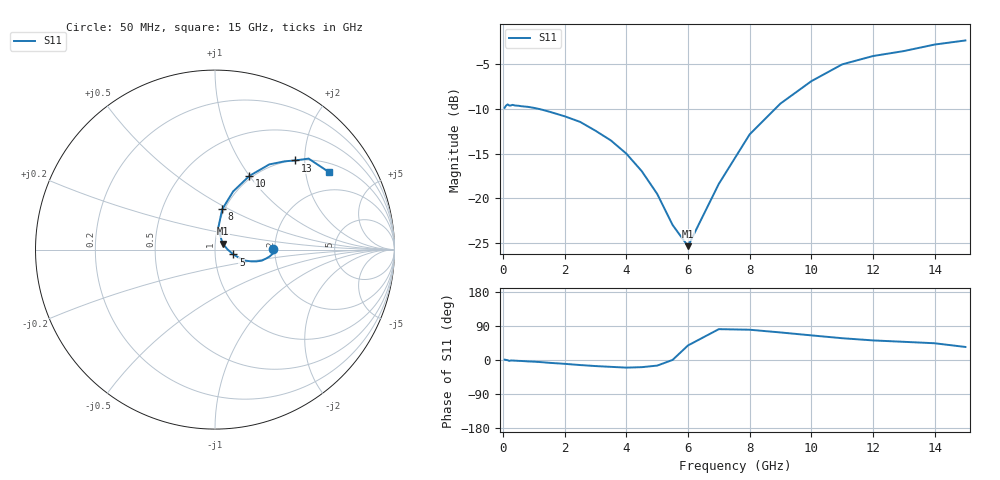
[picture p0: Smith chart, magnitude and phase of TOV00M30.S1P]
! SIEMENS Small Signal Semiconductors
! BAT15-03W
! Si Schottky Diode in SOD323
! IF = 0.3 mA
! S-Parameters:  May  1996
# GHz  S  MA  R  50
!  f  S11
! GHz  MAG  ANG
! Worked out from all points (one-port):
!   31 points, 50 MHz to 15 GHz, reference 50 ohm
!   lowest |S11| = -25.4 dB at 6 GHz (marker M1), VSWR 1.11, Z = 54.3 + j3.63 ohm
!   |S11| at or under -10 dB: 1.171 GHz to 8.824 GHz (7.653 GHz wide, 153 % of centre)
!   S11 on the Smith chart (normalised r, x): 50 MHz: 1.95, +0.02; 5 GHz: 1.23, -0.07; 8 GHz: 0.98, +0.46; 10 GHz: 0.97, +1.00; 13 GHz: 1.00, +1.80; 15 GHz: 1.28, +2.69
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0.05  0.3211 0.9
0.1  0.3308 0.2
0.15  0.3357 -0.5
0.2  0.3306 -2.4
0.25  0.3308 -1.3
0.3  0.3335 -1.4
0.4  0.3307 -1.8
0.8  0.3252 -3.7
1.2  0.3155 -5.4
1.5  0.3054 -7.4
2  0.2877 -10.1
2.5  0.2676 -13.3
3  0.2387 -16.0
3.5  0.2105 -18.1
4  0.1776 -20.1
4.5  0.1416 -18.9
5  0.1056 -14.8
5.5  0.07063 0.2
6  0.0537 38.4
7  0.1201 81.4
8  0.2277 79.9
9  0.3392 72.7
10  0.4527 65.0
11  0.5628 57.5
12  0.6268 51.7
13  0.6683 48.0
14  0.7272 44.2
15  0.7668 34.4
